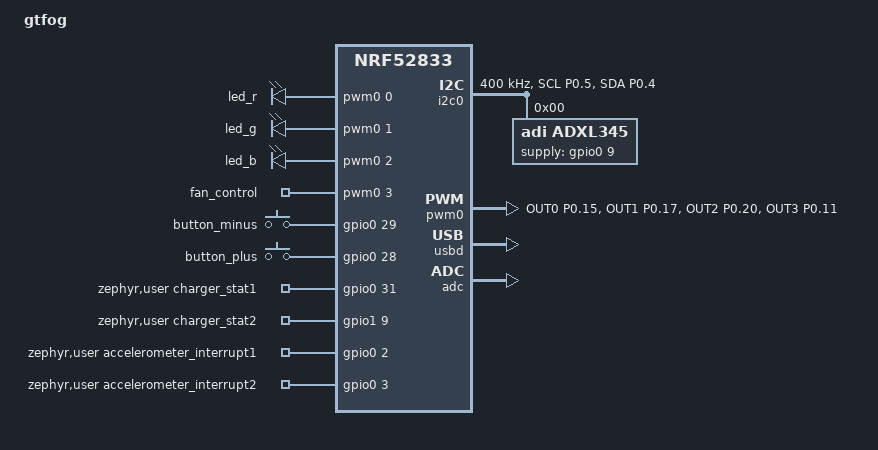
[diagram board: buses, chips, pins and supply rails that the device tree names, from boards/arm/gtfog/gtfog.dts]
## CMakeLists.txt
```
#
# Copyright (c) 2019 Nordic Semiconductor
#
# SPDX-License-Identifier: LicenseRef-Nordic-5-Clause
#
cmake_minimum_required(VERSION 3.20.0)

find_package(Zephyr REQUIRED HINTS $ENV{ZEPHYR_BASE})
project(fw)

# NORDIC SDK APP START
target_sources(app PRIVATE
  src/main.c
)
# NORDIC SDK APP END
zephyr_library_include_directories(.)
```

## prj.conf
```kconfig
#
# Copyright (c) 2019 Nordic Semiconductor
#
# SPDX-License-Identifier: LicenseRef-Nordic-5-Clause
#

CONFIG_BT=y
CONFIG_BT_PERIPHERAL=y
CONFIG_BT_DEVICE_NAME="Fogget"

CONFIG_BT_SMP=y
CONFIG_BT_GATT_CLIENT=y
CONFIG_BT_GATT_DM=y
CONFIG_HEAP_MEM_POOL_SIZE=1024
CONFIG_BT_GATT_DM_DATA_PRINT=y

# Needed to print UUID.
CONFIG_BT_DEBUG_LOG=y
CONFIG_BT_GATT_DM_DATA_PRINT=y

CONFIG_DK_LIBRARY=y
```

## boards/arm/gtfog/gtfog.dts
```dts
// Copyright (c) 2024 Nordic Semiconductor ASA
// SPDX-License-Identifier: Apache-2.0

/dts-v1/;
#include <nordic/nrf52833_qiaa.dtsi>

/ {
	model = "gtfog";
	compatible = "agh,gtfog";

	chosen {
		zephyr,sram = &sram0;
		zephyr,flash = &flash0;
		zephyr,code-partition = &slot0_partition;
	};

	pwmleds {
		compatible = "pwm-leds";
		led_r {
			pwms = <&pwm0 0 PWM_MSEC(20) PWM_POLARITY_NORMAL>;
		};

		led_g {
			pwms = <&pwm0 1 PWM_MSEC(20) PWM_POLARITY_NORMAL>;
		};

		led_b {
			pwms = <&pwm0 2 PWM_MSEC(20) PWM_POLARITY_NORMAL>;
		};

		fan_control {
			pwms = <&pwm0 3 PWM_MSEC(20) PWM_POLARITY_NORMAL>;
		};
	};

	buttons {
		compatible = "gpio-keys";
		button_minus {
			label = "button_minus";
			gpios = <&gpio0 29 0>;
		};

		button_plus {
			label = "button_plus";
			gpios = <&gpio0 28 0>;
		};
	};

	zephyr,user {
		charger_stat1-gpios = <&gpio0 31 GPIO_PULL_UP>;
		charger_stat2-gpios = <&gpio1 9 GPIO_PULL_UP>;
		accelerometer_interrupt1-gpios = <&gpio0 2 0>;
		accelerometer_interrupt2-gpios = <&gpio0 3 0>;
	};
};

&flash0 {
	partitions {
		compatible = "fixed-partitions";
		#address-cells = <1>;
		#size-cells = <1>;

		boot_partition: partition@0 {
			label = "mcuboot";
			reg = <0x0 0xc000>;
		};
		slot0_partition: partition@c000 {
			label = "image-0";
			reg = <0xc000 0x32000>;
		};
		slot1_partition: partition@3e000 {
			label = "image-1";
			reg = <0x3e000 0x32000>;
		};
		scratch_partition: partition@70000 {
			label = "image-scratch";
			reg = <0x70000 0xa000>;
		};
		storage_partition: partition@7a000 {
			label = "storage";
			reg = <0x7a000 0x6000>;
		};
	};
};





&i2c0 {
	status = "okay";
	clock-frequency = <I2C_BITRATE_FAST>;
	pinctrl-0 = <&i2c0_default>;
	pinctrl-names = "default";
	adxl345@0 {
		compatible = "adi,adxl345";
		reg = <0x0>;
		supply-gpios = <&gpio0 9 0>;
	};
};



&pwm0 {
	status = "okay";
	pinctrl-0 = <&pwm0_default>;
	pinctrl-names = "default";
};

&gpio0 {
	status = "okay";
};

&pinctrl {
	pwm0_default: pwm0_default {
		group1 {
			psels = <NRF_PSEL(PWM_OUT0, 0, 15)>,
					<NRF_PSEL(PWM_OUT1, 0, 17)>,
					<NRF_PSEL(PWM_OUT2, 0, 20)>,
					<NRF_PSEL(PWM_OUT3, 0, 11)>;
		};
	};

	i2c0_default: i2c0_default {
		group1 {
			psels = <NRF_PSEL(TWIM_SCL, 0, 5)>, <NRF_PSEL(TWIM_SDA, 0, 4)>;
		};
	};
};

&usbd {
	status = "okay";
};

&gpio1 {
	status = "okay";
};

&adc {
	status = "okay";
	io-channels = <&adc 6>;
	io-channel-names = "vbat";
};
```

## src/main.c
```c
/*
 * Copyright (c) 2018 Nordic Semiconductor ASA
 *
 * SPDX-License-Identifier: LicenseRef-Nordic-5-Clause
 */

#include <zephyr/types.h>
#include <stddef.h>
#include <string.h>
#include <errno.h>
#include <sys/printk.h>
#include <sys/byteorder.h>
#include <zephyr.h>
#include <drivers/gpio.h>

#include <soc.h>

#include <bluetooth/bluetooth.h>
#include <bluetooth/hci.h>
#include <bluetooth/conn.h>
#include <bluetooth/uuid.h>
#include <bluetooth/gatt.h>

#include <bluetooth/gatt_dm.h>

#include <dk_buttons_and_leds.h>

#define DEVICE_NAME             CONFIG_BT_DEVICE_NAME
#define DEVICE_NAME_LEN         (sizeof(DEVICE_NAME) - 1)

/* Key used to accept or reject passkey value */
#define KEY_PAIRING_ACCEPT DK_BTN1_MSK
#define KEY_PAIRING_REJECT DK_BTN2_MSK

static struct bt_conn *pairing_confirmation_conn;
static const struct bt_data ad[] = {
	BT_DATA_BYTES(BT_DATA_FLAGS, (BT_LE_AD_GENERAL | BT_LE_AD_NO_BREDR)),
	BT_DATA(BT_DATA_NAME_COMPLETE, DEVICE_NAME, DEVICE_NAME_LEN),
};

static void discover_all_completed(struct bt_gatt_dm *dm, void *ctx)
{
	char uuid_str[37];

	const struct bt_gatt_dm_attr *gatt_service_attr =
			bt_gatt_dm_service_get(dm);
	const struct bt_gatt_service_val *gatt_service =
			bt_gatt_dm_attr_service_val(gatt_service_attr);

	size_t attr_count = bt_gatt_dm_attr_cnt(dm);

	bt_uuid_to_str(gatt_service->uuid, uuid_str, sizeof(uuid_str));
	printk("Found service %s\n", uuid_str);
	printk("Attribute count: %d\n", attr_count);

	bt_gatt_dm_data_print(dm);
	bt_gatt_dm_data_release(dm);

	bt_gatt_dm_continue(dm, NULL);
}

static void discover_all_service_not_found(struct bt_conn *conn, void *ctx)
{
	printk("No more services\n");
}

static void discover_all_error_found(struct bt_conn *conn, int err, void *ctx)
{
	printk("The discovery procedure failed, err %d\n", err);
}

static struct bt_gatt_dm_cb discover_all_cb = {
	.completed = discover_all_completed,
	.service_not_found = discover_all_service_not_found,
	.error_found = discover_all_error_found,
};

static void connected(struct bt_conn *conn, uint8_t err)
{
	char addr[BT_ADDR_LE_STR_LEN];

	if (err) {
		printk("Connection failed (err 0x%02x)\n", err);
		return;
	}

	bt_addr_le_to_str(bt_conn_get_dst(conn), addr, sizeof(addr));
	printk("Connected %s\n", addr);

	err = bt_gatt_dm_start(conn, NULL, &discover_all_cb, NULL);
	if (err) {
		printk("Failed to start discovery (err %d)\n", err);
	}
}

static void disconnected(struct bt_conn *conn, uint8_t reason)
{
	char addr[BT_ADDR_LE_STR_LEN];

	bt_addr_le_to_str(bt_conn_get_dst(conn), addr, sizeof(addr));
	printk("Disconnected from %s (reason 0x%02x)\n", addr, reason);
}

static void security_changed(struct bt_conn *conn, bt_security_t level,
			     enum bt_security_err err)
{
	char addr[BT_ADDR_LE_STR_LEN];

	bt_addr_le_to_str(bt_conn_get_dst(conn), addr, sizeof(addr));

	if (!err) {
		printk("Security changed: %s level %u\n", addr, level);
	} else {
		printk("Security failed: %s level %u err %d\n", addr, level,
			err);
	}
}

static struct bt_conn_cb conn_callbacks = {
	.connected        = connected,
	.disconnected     = disconnected,
	.security_changed = security_changed,
};

static void auth_cancel(struct bt_conn *conn)
{
	char addr[BT_ADDR_LE_STR_LEN];

	bt_addr_le_to_str(bt_conn_get_dst(conn), addr, sizeof(addr));

	printk("Pairing cancelled: %s\n", addr);
}

static void pairing_confirm(struct bt_conn *conn)
{
	char addr[BT_ADDR_LE_STR_LEN];

	bt_addr_le_to_str(bt_conn_get_dst(conn), addr, sizeof(addr));

	pairing_confirmation_conn = bt_conn_ref(conn);

	printk("Pairing confirmation required for %s\n", addr);
	printk("Press Button 1 to confirm, Button 2 to reject.\n");
}

static void pairing_complete(struct bt_conn *conn, bool bonded)
{
	char addr[BT_ADDR_LE_STR_LEN];

	bt_addr_le_to_str(bt_conn_get_dst(conn), addr, sizeof(addr));

	printk("Pairing completed: %s, bonded: %d\n", addr, bonded);
}

static void pairing_failed(struct bt_conn *conn, enum bt_security_err reason)
{
	char addr[BT_ADDR_LE_STR_LEN];

	bt_addr_le_to_str(bt_conn_get_dst(conn), addr, sizeof(addr));

	printk("Pairing failed conn: %s, reason %d\n", addr, reason);

	if (pairing_confirmation_conn) {
		pairing_confirmation_conn = NULL;
		bt_conn_unref(pairing_confirmation_conn);
	}
}

static struct bt_conn_auth_cb conn_auth_callbacks = {
	.cancel = auth_cancel,
	.pairing_confirm = pairing_confirm,
	.pairing_complete = pairing_complete,
	.pairing_failed = pairing_failed
};

static void button_changed(uint32_t button_state, uint32_t has_changed)
{
	int err;
	uint32_t buttons = button_state & has_changed;

	if (pairing_confirmation_conn) {
		struct bt_conn *conn = pairing_confirmation_conn;

		if (buttons & KEY_PAIRING_ACCEPT) {
			pairing_confirmation_conn = NULL;

			err = bt_conn_auth_pairing_confirm(conn);
			if (err) {
				printk("Failed to confirm the pairing: %d\n", err);
			} else {
				printk("Pairing confirmed\n");
			}

			bt_conn_unref(conn);

			return;
		}

		if (buttons & KEY_PAIRING_REJECT) {
			pairing_confirmation_conn = NULL;

			err = bt_conn_auth_cancel(conn);
			if (err) {
				printk("Failed to reject the pairing: %d\n", err);
			} else {
				printk("Pairing rejected\n");
			}

			bt_conn_unref(conn);

			return;
		}
	}
}

void main(void)
{
	int err;

	printk("Starting GATT Discovery Manager example\n");

	err = dk_buttons_init(button_changed);
	if (err) {
		printk("Cannot init buttons (err: %d)\n", err);
	}

	err = bt_enable(NULL);
	if (err) {
		printk("BLE init failed with error code %d\n", err);
		return;
	}

	bt_conn_cb_register(&conn_callbacks);
	if (err) {
		printk("Failed to register connection callbacks.\n");
		return;
	}

	err = bt_conn_auth_cb_register(&conn_auth_callbacks);
	if (err) {
		printk("Failed to register authorization callbacks.\n");
		return;
	}

	err = bt_le_adv_start(BT_LE_ADV_CONN, ad, ARRAY_SIZE(ad),
			      NULL, 0);
	if (err) {
		printk("Advertising failed to start (err %d)\n", err);
		return;
	}

	printk("Advertising successfully started\n");
}
```
